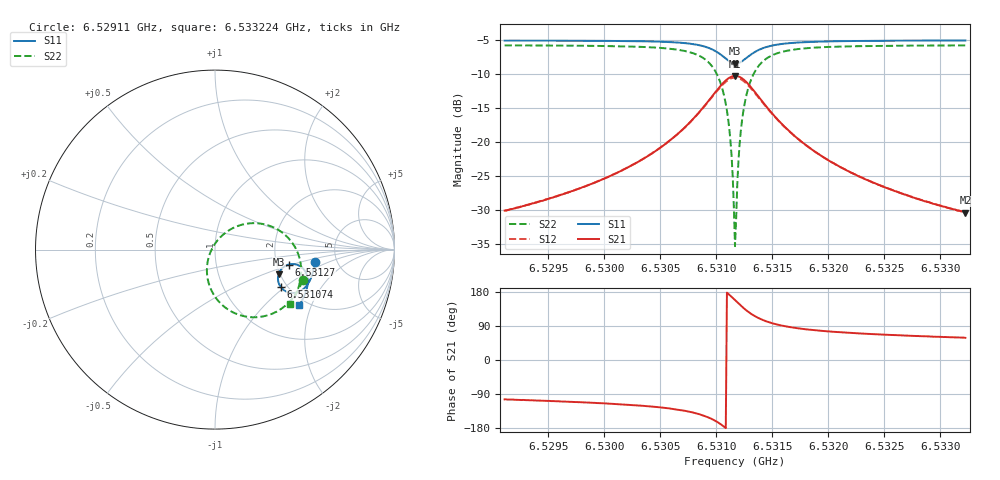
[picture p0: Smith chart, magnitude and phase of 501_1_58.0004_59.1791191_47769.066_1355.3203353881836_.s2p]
#  HZ  S  RI  R  50.00
! Rohde & Schwarz Vector Network Analyzer
! Rohde-Schwarz,ZNB20-2Port,1311601062101988,3.16
! Created: UTC 3/21/2024, 1:12:47 AM
! freq[Hz]  re:S11  im:S11  re:S21  im:S21  re:S12  im:S12  re:S22  im:S22
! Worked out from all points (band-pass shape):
!   401 points, 6.52911 GHz to 6.533224 GHz, reference 50 ohm
!   highest |S21| = -10.21 dB at 6.531167 GHz (marker M1); lowest = -30.4 dB at 6.533224 GHz (marker M2)
!   |S21| within 3 dB of the highest: 6.530963 GHz to 6.531374 GHz (410.9 kHz wide, 0.00629 % of centre)
!   lowest |S11| = -8.4 dB at 6.531167 GHz (marker M3), VSWR 2.22, Z = 98.2 - j31.5 ohm
!   |S11| at or under -10 dB: nowhere
!   |S22| runs from -35.3 to -5.7 dB; largest |S21 - S12| = 0.012
!   S11 on the Smith chart (normalised r, x): 6.52911 GHz: 3.41, -0.67; 6.531074 GHz: 1.85, -0.93; 6.53127 GHz: 2.33, -0.47; 6.533224 GHz: 1.82, -1.64
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6.5291101e9  0.5567 -0.0674  -0.00753 -0.0305  -0.00811 -0.0302  0.4885 -0.1713
6.5297991e9  0.5458 -0.1246  -0.0171 -0.0432  -0.0179 -0.0428  0.4574 -0.2352
6.5304882e9  0.5166 -0.1928  -0.051 -0.0739  -0.0532 -0.0724  0.3753 -0.3254
6.5307247e9  0.4893 -0.2225  -0.091 -0.093  -0.0938 -0.0899  0.2946 -0.3656
6.5308995e9  0.4453 -0.2409  -0.1594 -0.0989  -0.1617 -0.0927  0.1681 -0.3725
6.5310024e9  0.4004 -0.2352  -0.2289 -0.0722  -0.2282 -0.063  0.0499 -0.3168
6.5310744e9  0.3657 -0.2074  -0.2802 -0.0135  -0.2743 -0.00363  -0.0277 -0.2095
6.5311155e9  0.3528 -0.1792  -0.2962 0.0399  -0.2871 0.0477  -0.0453 -0.1184
6.5311258e9  0.3514 -0.1711  -0.2971 0.0547  -0.2875 0.0619  -0.0444 -0.0937
6.5311566e9  0.3521 -0.1456  -0.2912 0.1006  -0.2803 0.105  -0.0274 -0.0191
6.5311669e9  0.3541 -0.1372  -0.2861 0.1155  -0.2751 0.1191  -0.0166 0.00441
6.5311772e9  0.3572 -0.129  -0.2797 0.1299  -0.2686 0.1323  -0.00372 0.0271
6.5311875e9  0.361 -0.1213  -0.2718 0.1436  -0.2609 0.145  0.0112 0.0481
6.5312081e9  0.3709 -0.1075  -0.2525 0.1679  -0.2422 0.1673  0.0469 0.0848
6.5312184e9  0.3766 -0.1015  -0.2415 0.1781  -0.2318 0.1771  0.0664 0.1
6.5312389e9  0.3896 -0.0918  -0.2177 0.1949  -0.2092 0.1925  0.1081 0.124
6.5312698e9  0.4104 -0.0832  -0.1804 0.2105  -0.1738 0.2071  0.1723 0.1437
6.5313418e9  0.4537 -0.0836  -0.1042 0.212  -0.1009 0.2088  0.3005 0.1338
6.5314446e9  0.4914 -0.1065  -0.039 0.1802  -0.0375 0.1784  0.4069 0.0662
6.531856e9  0.5169 -0.1867  0.0164 0.0867  0.0175 0.0864  0.4803 -0.128
6.532545e9  0.4974 -0.2576  0.0182 0.0415  0.019 0.0412  0.4519 -0.245
6.5332238e9  0.4707 -0.3082  0.0158 0.0258  0.0163 0.0257  0.4173 -0.3056
